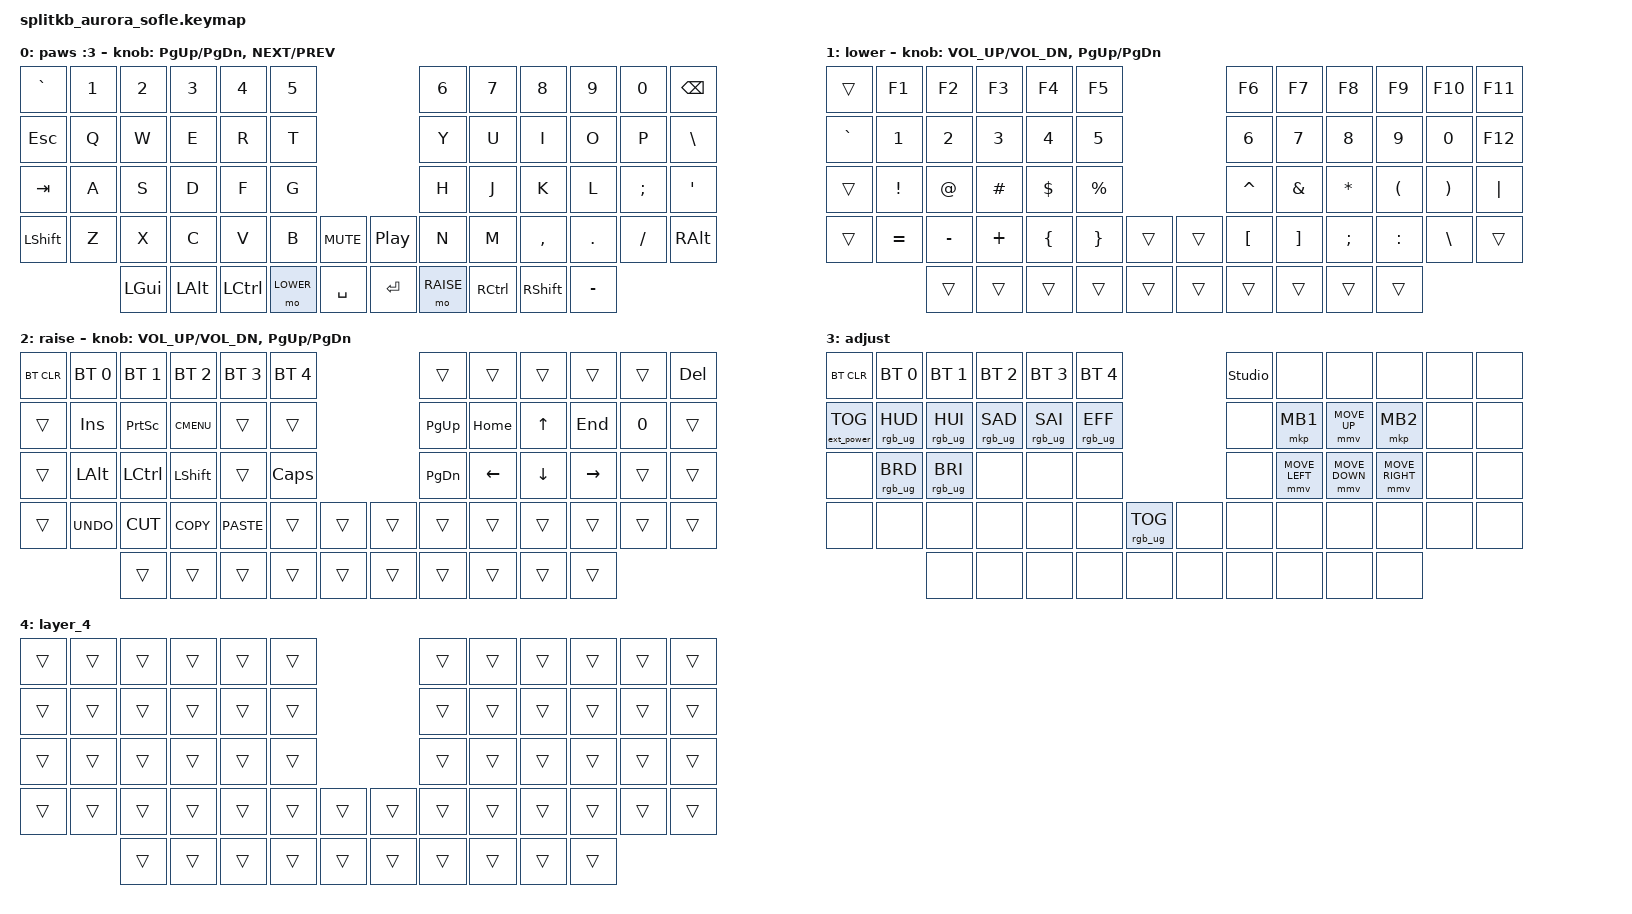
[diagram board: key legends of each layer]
/*
 * Copyright (c) 2020 The ZMK Contributors
 *
 * SPDX-License-Identifier: MIT
 */

#include <behaviors.dtsi>
#include <dt-bindings/zmk/bt.h>
#include <dt-bindings/zmk/ext_power.h>
#include <dt-bindings/zmk/keys.h>
#include <dt-bindings/zmk/pointing.h>
#include <dt-bindings/zmk/rgb.h>

#define BASE 0
#define LOWER 1
#define RAISE 2
#define ADJUST 3

&led_strip {
    chain-length = <6>;
    chain-length = <35>; // Uncomment if using both per-key and underglow LEDs
    // chain-length = <29>; // Uncomment if using only per-key LEDs.
};

/ {
    // Activate ADJUST layer by pressing raise and lower

    conditional_layers {
        compatible = "zmk,conditional-layers";

        adjust_layer {
            if-layers = <LOWER RAISE>;
            then-layer = <ADJUST>;
        };
    };

    keymap {
        compatible = "zmk,keymap";

        default_layer {
            display-name = "paws :3";

            // ------------------------------------------------------------------------------------------------------------
            // |   `   |  1  |  2  |  3   |  4   |  5   |                   |  6   |  7    |  8    |  9   |   0   |       |
            // |  ESC  |  Q  |  W  |  E   |  R   |  T   |                   |  Y   |  U    |  I    |  O   |   P   | BKSPC |
            // |  TAB  |  A  |  S  |  D   |  F   |  G   |                   |  H   |  J    |  K    |  L   |   ;   |   '   |
            // | SHIFT |  Z  |  X  |  C   |  V   |  B   |  MUTE  |  |       |  N   |  M    |  ,    |  .   |   /   | SHIFT |
            //               | GUI | ALT  | CTRL | LOWER|  ENTER |  | SPACE | RAISE| CTRL  | ALT   | GUI  |

            bindings = <
&kp GRAVE  &kp N1  &kp N2    &kp N3    &kp N4     &kp N5                                     &kp N6     &kp N7     &kp N8           &kp N9     &kp N0    &kp BACKSPACE
&kp ESC    &kp Q   &kp W     &kp E     &kp R      &kp T                                      &kp Y      &kp U      &kp I            &kp O      &kp P     &kp BACKSLASH
&kp TAB    &kp A   &kp S     &kp D     &kp F      &kp G                                      &kp H      &kp J      &kp K            &kp L      &kp SEMI  &kp SQT
&kp LSHFT  &kp Z   &kp X     &kp C     &kp V      &kp B      &kp C_MUTE    &kp C_PLAY_PAUSE  &kp N      &kp M      &kp COMMA        &kp DOT    &kp FSLH  &kp RIGHT_ALT
                   &kp LGUI  &kp LALT  &kp LCTRL  &mo LOWER  &kp SPACE     &kp RET           &mo RAISE  &kp RCTRL  &kp RIGHT_SHIFT  &kp MINUS
            >;

            sensor-bindings =
                <&inc_dec_kp PG_UP PG_DN>,
                <&inc_dec_kp C_NEXT C_PREV>;
        };

        lower_layer {
            display-name = "lower";

            // TODO: Some binds are waiting for shifted keycode support.
            // ------------------------------------------------------------------------------------------------------------
            // |       |  F1 |  F2 |  F3  |  F4  |  F5  |                   |  F6  |  F7   |  F8   |  F9  |  F10  |  F11  |
            // |   `   |  1  |  2  |  3   |  4   |  5   |                   |  6   |  7    |  8    |  9   |   0   |  F12  |
            // |       |  !  |  @  |  #   |  $   |  %   |                   |  ^   |  &    |  *    |  (   |   )   |   |   |
            // |       |  =  |  -  |  +   |  {   |  }   |        |  |       |  [   |  ]    |  ;    |  :   |   \   |       |
            //               |     |      |      |      |        |  |       |      |       |       |      |

            bindings = <
&trans     &kp F1     &kp F2     &kp F3    &kp F4    &kp F5                       &kp F6     &kp F7    &kp F8     &kp F9     &kp F10   &kp F11
&kp GRAVE  &kp N1     &kp N2     &kp N3    &kp N4    &kp N5                       &kp N6     &kp N7    &kp N8     &kp N9     &kp N0    &kp F12
&trans     &kp EXCL   &kp AT     &kp HASH  &kp DLLR  &kp PRCNT                    &kp CARET  &kp AMPS  &kp ASTRK  &kp LPAR   &kp RPAR  &kp PIPE
&trans     &kp EQUAL  &kp MINUS  &kp PLUS  &kp LBRC  &kp RBRC   &trans    &trans  &kp LBKT   &kp RBKT  &kp SEMI   &kp COLON  &kp BSLH  &trans
                      &trans     &trans    &trans    &trans     &trans    &trans  &trans     &trans    &trans     &trans
            >;

            sensor-bindings = <&inc_dec_kp C_VOL_UP C_VOL_DN &inc_dec_kp PG_UP PG_DN>;
        };

        raise_layer {
            display-name = "raise";

            // ------------------------------------------------------------------------------------------------------------
            // | BTCLR | BT1  | BT2  |  BT3  |  BT4  |  BT5 |                |      |      |       |      |       |       |
            // |       | INS  | PSCR | GUI   |       |      |                | PGUP |      |   ^   |      |       |       |
            // |       | ALT  | CTRL | SHIFT |       | CAPS |                | PGDN |   <- |   v   |  ->  |  DEL  | BKSPC |
            // |       | UNDO | CUT  | COPY  | PASTE |      |      |  |      |      |      |       |      |       |       |
            //                |      |       |       |      |      |  |      |      |      |       |      |

            bindings = <
&bt BT_CLR  &bt BT_SEL 0  &bt BT_SEL 1  &bt BT_SEL 2  &bt BT_SEL 3  &bt BT_SEL 4                    &trans     &trans    &trans    &trans     &trans  &kp DELETE
&trans      &kp INS       &kp PSCRN     &kp K_CMENU   &trans        &trans                          &kp PG_UP  &kp HOME  &kp UP    &kp END    &kp N0  &trans
&trans      &kp LALT      &kp LCTRL     &kp LSHFT     &trans        &kp CLCK                        &kp PG_DN  &kp LEFT  &kp DOWN  &kp RIGHT  &trans  &trans
&trans      &kp K_UNDO    &kp K_CUT     &kp K_COPY    &kp K_PASTE   &trans        &trans    &trans  &trans     &trans    &trans    &trans     &trans  &trans
                          &trans        &trans        &trans        &trans        &trans    &trans  &trans     &trans    &trans    &trans
            >;

            sensor-bindings = <&inc_dec_kp C_VOL_UP C_VOL_DN &inc_dec_kp PG_UP PG_DN>;
        };

        adjust_layer {
            // ----------------------------------------------------------------------------------------------------------------------------
            // | BTCLR  |  BT1    |  BT2    |   BT3   |   BT4   |   BT5   |                  |      |      |       |      |       |       |
            // | EXTPWR | RGB_HUD | RGB_HUI | RGB_SAD | RGB_SAI | RGB_EFF |                  |      |      |       |      |       |       |
            // |        | RGB_BRD | RGB_BRI |         |         |         |                  |      |      |       |      |       |       |
            // |        |         |         |         |         |         | RGB_TOG | |      |      |      |       |      |       |       |
            //                    |         |         |         |         |         | |      |      |      |       |      |

            display-name = "adjust";
            bindings = <
&bt BT_CLR         &bt BT_SEL 0     &bt BT_SEL 1     &bt BT_SEL 2     &bt BT_SEL 3     &bt BT_SEL 4                               &studio_unlock  &none           &none           &none            &none  &none
&ext_power EP_TOG  &rgb_ug RGB_HUD  &rgb_ug RGB_HUI  &rgb_ug RGB_SAD  &rgb_ug RGB_SAI  &rgb_ug RGB_EFF                            &none           &mkp MB1        &mmv MOVE_UP    &mkp MB2         &none  &none
&none              &rgb_ug RGB_BRD  &rgb_ug RGB_BRI  &none            &none            &none                                      &none           &mmv MOVE_LEFT  &mmv MOVE_DOWN  &mmv MOVE_RIGHT  &none  &none
&none              &none            &none            &none            &none            &none            &rgb_ug RGB_TOG    &none  &none           &none           &none           &none            &none  &none
                                    &none            &none            &none            &none            &none              &none  &none           &none           &none           &none
            >;
        };

        layer_4 {
            bindings = <
&trans  &trans  &trans  &trans  &trans  &trans                    &trans  &trans  &trans  &trans  &trans  &trans
&trans  &trans  &trans  &trans  &trans  &trans                    &trans  &trans  &trans  &trans  &trans  &trans
&trans  &trans  &trans  &trans  &trans  &trans                    &trans  &trans  &trans  &trans  &trans  &trans
&trans  &trans  &trans  &trans  &trans  &trans  &trans    &trans  &trans  &trans  &trans  &trans  &trans  &trans
                &trans  &trans  &trans  &trans  &trans    &trans  &trans  &trans  &trans  &trans
            >;
        };
    };
};
